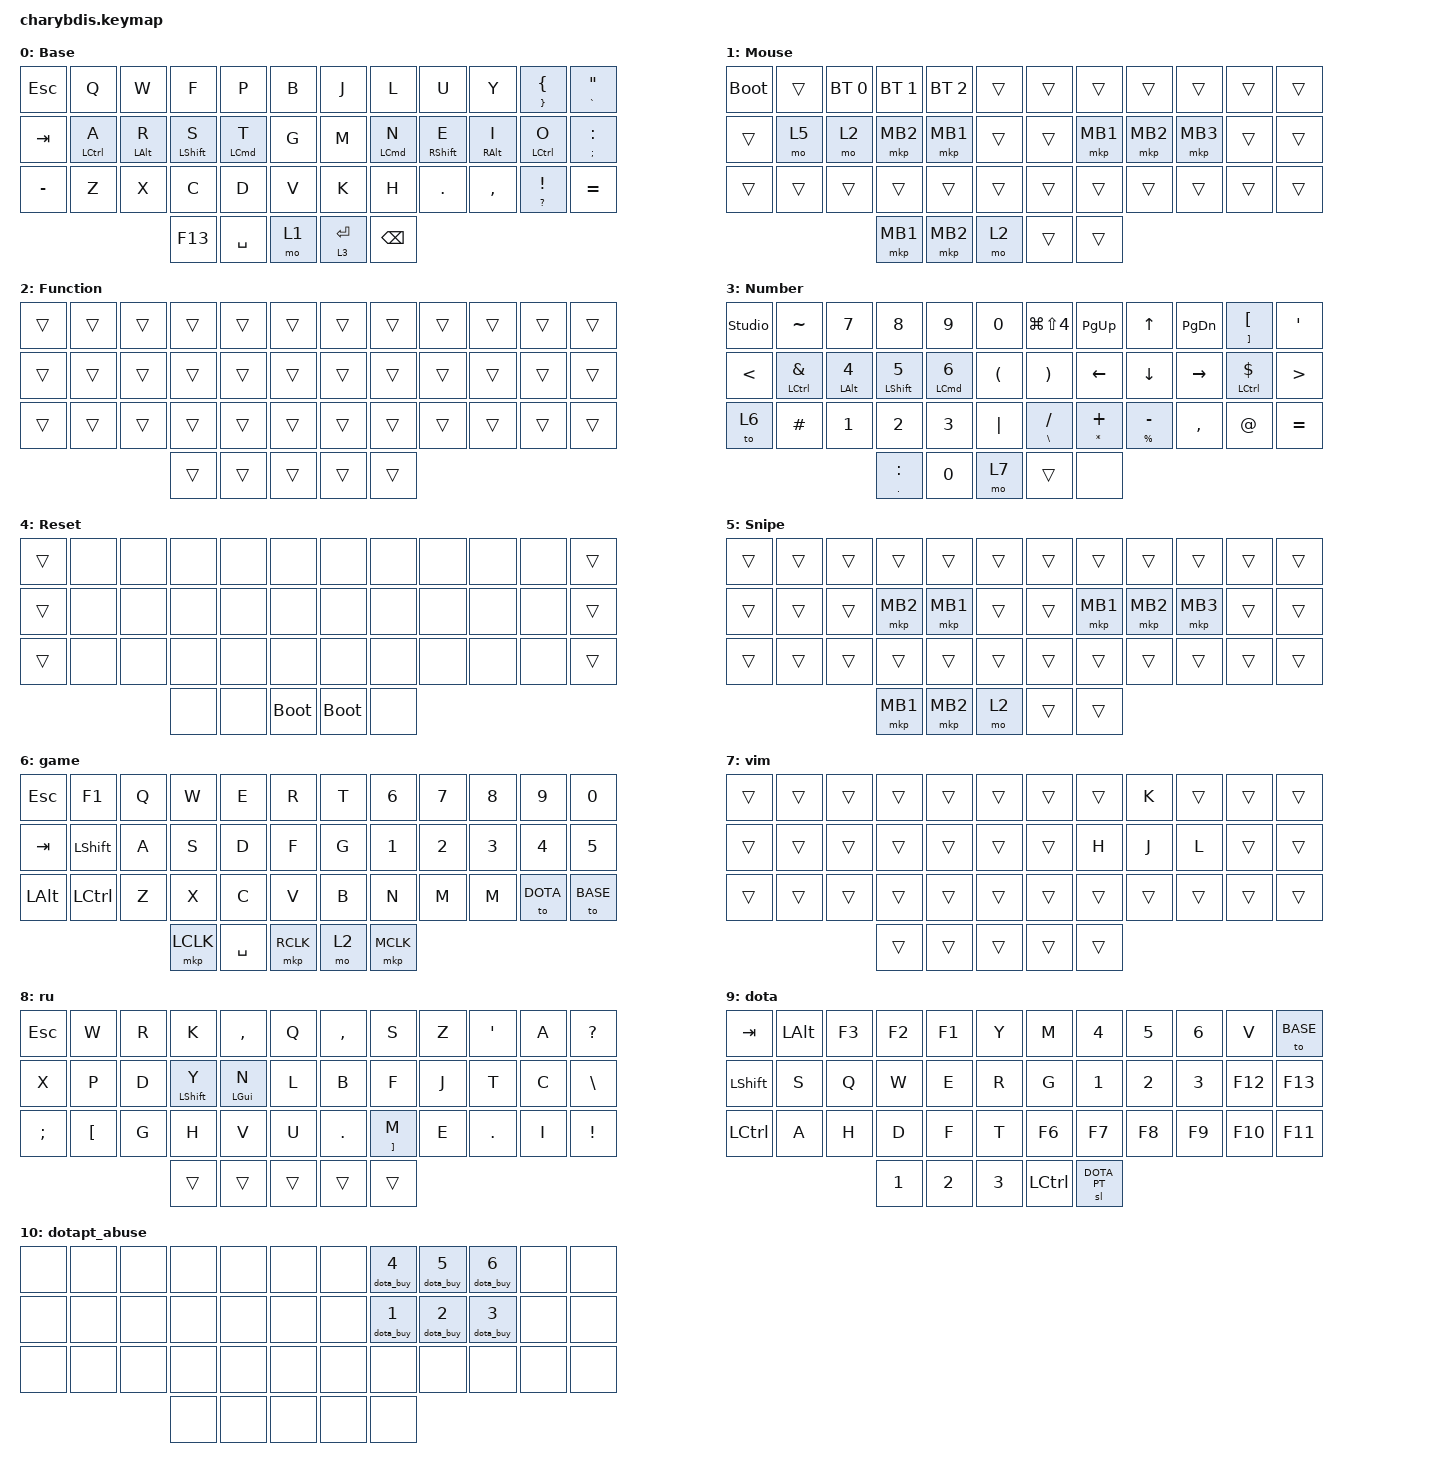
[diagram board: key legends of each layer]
#include <behaviors.dtsi>
#include <dt-bindings/zmk/bt.h>
#include <dt-bindings/zmk/keys.h>
#include <dt-bindings/zmk/pointing.h>

#define BASE 0
#define MOUSE 1
#define FUNCTION 2
#define NUMBER 3
#define RESET 4
#define SNIPE 5
#define GAME 6
#define DOTA 9
#define DOTA_PT 10

// Левые основные кнопки (3 ряда по 6)

#define KEYS_L 0 1 2 3 4 5 12 13 14 15 16 17 24 25 26 27 28 29

// Правые основные кнопки (3 ряда по 6)

#define KEYS_R 6 7 8 9 10 11 18 19 20 21 22 23 30 31 32 33 34 35

// Большие пальцы (всего 5 позиций в раскладке 3x6)

#define THUMBS 36 37 38 39 40

&sk {
    release-after-ms = <600>;
    quick-release;
};

&sl { ignore-modifiers; };

&mt {
    flavor = "tap-preferred";
    tapping-term-ms = <500>;
};

&lt {
    flavor = "balanced";
    tapping-term-ms = <200>;
    quick-tap-ms = <100>;
};

&caps_word { /delete-property/ ignore-modifiers; };

/ {
    behaviors {
        hml: hml {
            compatible = "zmk,behavior-hold-tap";
            #binding-cells = <2>;
            flavor = "tap-preferred";
            tapping-term-ms = <225>;
            require-prior-idle-ms = <100>;
            hold-trigger-key-positions = <KEYS_R THUMBS>;
            hold-trigger-on-release;
            bindings = <&kp>, <&kp>;
        };

        hmr: hmr {
            compatible = "zmk,behavior-hold-tap";
            #binding-cells = <2>;
            flavor = "tap-preferred";
            tapping-term-ms = <500>;
            quick-tap-ms = <175>;
            require-prior-idle-ms = <250>;
            hold-trigger-key-positions = <KEYS_L THUMBS>;
            hold-trigger-on-release;
            bindings = <&kp>, <&kp>;
        };

        hml_s: hml_s {
            compatible = "zmk,behavior-hold-tap";
            #binding-cells = <2>;
            flavor = "tap-preferred";
            tapping-term-ms = <500>;
            quick-tap-ms = <125>;
            require-prior-idle-ms = <0>;
            hold-trigger-key-positions = <KEYS_R THUMBS>;
            hold-trigger-on-release;
            bindings = <&kp>, <&kp>;
        };

        hmr_s: hmr_s {
            compatible = "zmk,behavior-hold-tap";
            #binding-cells = <2>;
            flavor = "tap-preferred";
            tapping-term-ms = <500>;
            quick-tap-ms = <175>;
            require-prior-idle-ms = <0>;
            hold-trigger-key-positions = <KEYS_L THUMBS>;
            hold-trigger-on-release;
            bindings = <&kp>, <&kp>;
        };

        smart_shift: smart_shift {
            compatible = "zmk,behavior-mod-morph";
            #binding-cells = <0>;
            bindings = <&sk LSHIFT>, <&caps_word>;

            mods = <(MOD_LSFT)>;
        };
    };

    macros {
        dota_buy: dota_buy {
            compatible = "zmk,behavior-macro-one-param";
            #binding-cells = <1>;
            wait-ms = <250>;
            tap-ms = <30>;
            bindings = <&kp N6 &macro_param_1to1 &kp MACRO_PLACEHOLDER &kp N6 &kp N6>;
        };
    };

    combos {
        compatible = "zmk,combos";
        timeout-ms = <20>;
        require-prior-idle-ms = <250>;

        combo_reset_central {
            key-positions = <32 33>;
            bindings = <&bootloader>;
            require-prior-idle-ms = <2000>;
        };
    };

    chosen { zmk,physical-layout = &charybdis_6col_layout; };

    keymap {
        compatible = "zmk,keymap";

        Base {
            display-name = "Base";
            bindings = <
&kp ESCAPE  &kp Q                &kp W        &kp F         &kp P                &kp B    &kp J        &kp L                &kp U         &kp Y        &hml RIGHT_BRACE LEFT_BRACE  &hml GRAVE DOUBLE_QUOTES
&kp TAB     &hml LEFT_CONTROL A  &hml LALT R  &hml LSHFT S  &hml LEFT_COMMAND T  &kp G    &kp M        &hml LEFT_COMMAND N  &hml RSHFT E  &hml RALT I  &hml LEFT_CONTROL O          &hml SEMICOLON COLON
&kp MINUS   &kp Z                &kp X        &kp C         &kp D                &kp V    &kp K        &kp H                &kp DOT       &kp COMMA    &hml QUESTION EXCLAMATION    &kp EQUAL
                                              &kp F13       &kp SPACE            &mo 1    &lt 3 ENTER  &kp BSPC
            >;
        };

        Mouse {
            display-name = "Mouse";
            bindings = <
&bootloader  &trans  &bt BT_SEL 0  &bt BT_SEL 1  &bt BT_SEL 2  &trans    &trans  &trans    &trans    &trans    &trans  &trans
&trans       &mo 5   &mo 2         &mkp MB2      &mkp MB1      &trans    &trans  &mkp MB1  &mkp MB2  &mkp MB3  &trans  &trans
&trans       &trans  &trans        &trans        &trans        &trans    &trans  &trans    &trans    &trans    &trans  &trans
                                   &mkp MB1      &mkp MB2      &mo 2     &trans  &trans
            >;
        };

        Function {
            display-name = "Function";
            bindings = <
&trans  &trans  &trans  &trans  &trans  &trans    &trans  &trans  &trans  &trans  &trans  &trans
&trans  &trans  &trans  &trans  &trans  &trans    &trans  &trans  &trans  &trans  &trans  &trans
&trans  &trans  &trans  &trans  &trans  &trans    &trans  &trans  &trans  &trans  &trans  &trans
                        &trans  &trans  &trans    &trans  &trans
            >;
        };

        Num {
            display-name = "Number";
            bindings = <
&studio_unlock  &kp TILDE                    &kp N7        &kp N8          &kp N9                &kp N0                  &kp LG(LS(NUMBER_4))   &kp PG_UP           &kp UP              &kp PG_DN  &hml RIGHT_BRACKET LEFT_BRACKET  &kp SINGLE_QUOTE
&kp LESS_THAN   &hml LEFT_CONTROL AMPERSAND  &hml LALT N4  &hml LSHFT N5   &hml LEFT_COMMAND N6  &kp LEFT_PARENTHESIS    &kp RIGHT_PARENTHESIS  &kp LEFT            &kp DOWN            &kp RIGHT  &hml LEFT_CONTROL DOLLAR         &kp GREATER_THAN
&to 6           &kp HASH                     &kp N1        &kp N2          &kp N3                &kp PIPE                &hml BACKSLASH SLASH   &hml ASTERISK PLUS  &hml PERCENT MINUS  &kp COMMA  &kp AT_SIGN                      &kp EQUAL
                                                           &hml DOT COLON  &kp N0                &mo 7                   &trans                 &none
            >;
        };

        Reset {
            display-name = "Reset";
            bindings = <
&trans  &none  &none  &none  &none  &none          &none        &none  &none  &none  &none  &trans
&trans  &none  &none  &none  &none  &none          &none        &none  &none  &none  &none  &trans
&trans  &none  &none  &none  &none  &none          &none        &none  &none  &none  &none  &trans
                      &none  &none  &bootloader    &bootloader  &none
            >;
        };

        Snipe {
            display-name = "Snipe";
            bindings = <
&trans  &trans  &trans  &trans    &trans    &trans    &trans  &trans    &trans    &trans    &trans  &trans
&trans  &trans  &trans  &mkp MB2  &mkp MB1  &trans    &trans  &mkp MB1  &mkp MB2  &mkp MB3  &trans  &trans
&trans  &trans  &trans  &trans    &trans    &trans    &trans  &trans    &trans    &trans    &trans  &trans
                        &mkp MB1  &mkp MB2  &mo 2     &trans  &trans
            >;
        };

        game {
            bindings = <
&kp ESC   &kp F1     &kp Q  &kp W      &kp E      &kp R        &kp T  &kp N6     &kp N7  &kp N8  &kp N9    &kp N0
&kp TAB   &kp LSHFT  &kp A  &kp S      &kp D      &kp F        &kp G  &kp N1     &kp N2  &kp N3  &kp N4    &kp N5
&kp LALT  &kp LCTRL  &kp Z  &kp X      &kp C      &kp V        &kp B  &kp N      &kp M   &kp M   &to DOTA  &to BASE
                            &mkp LCLK  &kp SPACE  &mkp RCLK    &mo 2  &mkp MCLK
            >;
        };

        vim {
            bindings = <
&trans  &trans  &trans  &trans  &trans  &trans    &trans  &trans  &kp K   &trans  &trans  &trans
&trans  &trans  &trans  &trans  &trans  &trans    &trans  &kp H   &kp J   &kp L   &trans  &trans
&trans  &trans  &trans  &trans  &trans  &trans    &trans  &trans  &trans  &trans  &trans  &trans
                        &trans  &trans  &trans    &trans  &trans
            >;
        };

        ru {
            bindings = <
&kp ESC   &kp W     &kp R  &kp K              &kp COMMA        &kp Q     &kp COMMA  &kp S                 &kp Z  &kp SQT  &kp A  &kp QUESTION
&kp X     &kp P     &kp D  &hml LEFT_SHIFT Y  &hml LEFT_GUI N  &kp L     &kp B      &kp F                 &kp J  &kp T    &kp C  &kp BACKSLASH
&kp SEMI  &kp LBKT  &kp G  &kp H              &kp V            &kp U     &kp DOT    &hml RIGHT_BRACKET M  &kp E  &kp DOT  &kp I  &kp EXCLAMATION
                           &trans             &trans           &trans    &trans     &trans
            >;
        };

        dota {
            bindings = <
&kp TAB           &kp LEFT_ALT  &kp F3  &kp F2        &kp F1        &kp Y           &kp M             &kp N4        &kp N5        &kp NUMBER_6  &kp V    &to BASE
&kp LSHFT         &kp S         &kp Q   &kp W         &kp E         &kp R           &kp G             &kp NUMBER_1  &kp NUMBER_2  &kp NUMBER_3  &kp F12  &kp F13
&kp LEFT_CONTROL  &kp A         &kp H   &kp D         &kp F         &kp T           &kp F6            &kp F7        &kp F8        &kp F9        &kp F10  &kp F11
                                        &kp NUMBER_1  &kp NUMBER_2  &kp NUMBER_3    &kp LEFT_CONTROL  &sl DOTA_PT
            >;
        };

        dotapt_abuse {
            bindings = <
&none  &none  &none  &none  &none  &none    &none  &dota_buy N4  &dota_buy N5  &dota_buy N6  &none  &none
&none  &none  &none  &none  &none  &none    &none  &dota_buy N1  &dota_buy N2  &dota_buy N3  &none  &none
&none  &none  &none  &none  &none  &none    &none  &none         &none         &none         &none  &none
                     &none  &none  &none    &none  &none
            >;
        };
    };
};
